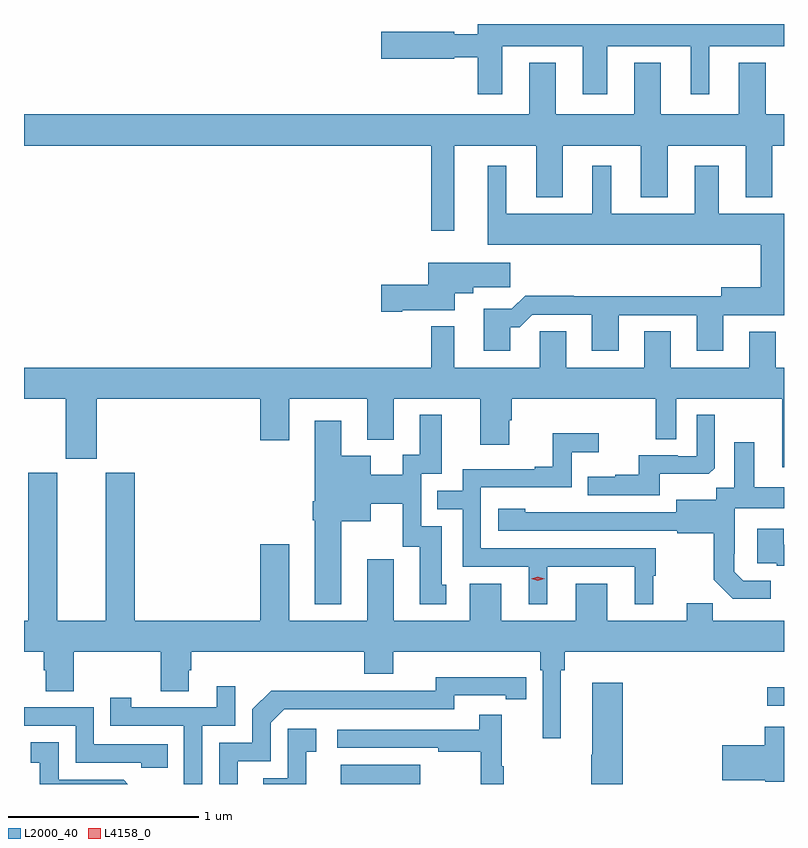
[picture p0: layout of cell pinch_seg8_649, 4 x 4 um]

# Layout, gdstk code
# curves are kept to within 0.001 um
import gdstk
lib = gdstk.Library(unit=1e-6, precision=1e-09)
def R(c, l, rs):  # rectangles x0, y0, x1, y1
    for r in rs: c.add(gdstk.rectangle(r[:2], r[2:], *l))
def P(c, l, *ps):  # polygons
    for p in ps: c.add(gdstk.Polygon(p, *l))
L2000_40 = (2000, 40)
L4158_0 = (4158, 0)

pinch_seg8_649 = lib.new_cell('pinch_seg8_649')
R(pinch_seg8_649, L2000_40, [(311.198,1107.812,311.617,1107.913), (313.443,1108.224,313.532,1108.322)])
P(pinch_seg8_649, L2000_40, [(312.049,1111.694),(312.473,1111.694),(312.473,1111.443),(312.601,1111.443),(312.601,1111.694),(313.04,1111.694),(313.04,1111.443),(313.138,1111.443),(313.138,1111.694),(313.532,1111.694),(313.532,1111.812),(311.921,1111.812),(311.921,1111.759),(311.796,1111.759),(311.796,1111.772),(311.412,1111.772),(311.412,1111.63),(311.796,1111.63),(311.796,1111.638),(311.921,1111.638),(311.921,1111.443),(312.049,1111.443)],
  [(311.797,1111.172),(312.227,1111.172),(312.227,1110.899),(312.367,1110.899),(312.367,1111.172),(312.779,1111.172),(312.779,1110.899),(312.919,1110.899),(312.919,1111.172),(313.331,1111.172),(313.331,1110.899),(313.471,1110.899),(313.471,1111.172),(313.532,1111.172),(313.532,1111.336),(313.435,1111.336),(313.435,1111.609),(313.295,1111.609),(313.295,1111.336),(312.883,1111.336),(312.883,1111.609),(312.743,1111.609),(312.743,1111.336),(312.331,1111.336),(312.331,1111.609),(312.191,1111.609),(312.191,1111.336),(309.532,1111.336),(309.532,1111.172),(311.676,1111.172),(311.676,1110.723),(311.797,1110.723)],
  [(312.091,1110.215),(312.14,1110.215),(312.207,1110.282),(312.521,1110.282),(312.521,1110.093),(312.661,1110.093),(312.661,1110.279),(313.073,1110.279),(313.073,1110.093),(313.213,1110.093),(313.213,1110.278),(313.532,1110.278),(313.532,1110.814),(313.189,1110.814),(313.189,1111.066),(313.061,1111.066),(313.061,1110.814),(312.622,1110.814),(312.622,1111.066),(312.524,1111.066),(312.524,1110.814),(312.07,1110.814),(312.07,1111.066),(311.972,1111.066),(311.972,1110.65),(313.409,1110.65),(313.409,1110.427),(313.202,1110.427),(313.202,1110.38),(312.425,1110.38),(312.425,1110.383),(312.17,1110.383),(312.1,1110.313),(311.951,1110.313),(311.951,1110.093),(312.091,1110.093)],
  [(311.524,1110.305),(311.8,1110.305),(311.8,1110.395),(311.896,1110.395),(311.896,1110.427),(312.091,1110.427),(312.091,1110.556),(311.66,1110.556),(311.66,1110.44),(311.412,1110.44),(311.412,1110.298),(311.524,1110.298)],
  [(313.532,1110.004),(313.489,1110.004),(313.489,1110.193),(313.349,1110.193),(313.349,1110.004),(312.937,1110.004),(312.937,1110.194),(312.797,1110.194),(312.797,1110.004),(312.385,1110.004),(312.385,1110.194),(312.246,1110.194),(312.246,1110.004),(311.797,1110.004),(311.797,1110.22),(311.676,1110.22),(311.676,1110.004),(309.532,1110.004),(309.532,1109.84),(309.752,1109.84),(309.752,1109.523),(309.916,1109.523),(309.916,1109.84),(310.775,1109.84),(310.775,1109.622),(310.927,1109.622),(310.927,1109.84),(311.339,1109.84),(311.339,1109.624),(311.479,1109.624),(311.479,1109.84),(311.933,1109.84),(311.933,1109.598),(312.085,1109.598),(312.085,1109.727),(312.098,1109.727),(312.098,1109.84),(312.858,1109.84),(312.858,1109.626),(312.966,1109.626),(312.966,1109.84),(313.523,1109.84),(313.523,1109.478),(313.532,1109.478)],
  [(311.203,1109.195),(311.356,1109.195),(311.356,1109.288),(311.526,1109.288),(311.526,1109.061),(311.615,1109.061),(311.615,1108.758),(311.755,1108.758),(311.755,1108.86),(311.731,1108.86),(311.731,1109.169),(311.622,1109.169),(311.622,1109.445),(311.731,1109.445),(311.731,1109.755),(311.615,1109.755),(311.615,1109.546),(311.525,1109.546),(311.525,1109.44),(311.356,1109.44),(311.356,1109.539),(311.203,1109.539),(311.203,1109.725),(311.063,1109.725),(311.063,1109.299),(311.051,1109.299),(311.051,1109.199),(311.063,1109.199),(311.063,1108.757),(311.203,1108.757)],
  [(312.877,1109.444),(313.135,1109.444),(313.167,1109.475),(313.167,1109.755),(313.074,1109.755),(313.074,1109.538),(312.974,1109.538),(312.974,1109.541),(312.767,1109.541),(312.767,1109.44),(312.643,1109.44),(312.643,1109.428),(312.499,1109.428),(312.499,1109.331),(312.877,1109.331)],
  [(312.286,1108.956),(312.746,1108.956),(312.746,1108.757),(312.844,1108.757),(312.844,1108.908),(312.856,1108.908),(312.856,1109.052),(311.937,1109.052),(311.937,1109.373),(312.414,1109.373),(312.414,1109.558),(312.556,1109.558),(312.556,1109.657),(312.316,1109.657),(312.316,1109.482),(312.221,1109.482),(312.221,1109.469),(311.841,1109.469),(311.841,1109.355),(311.707,1109.355),(311.707,1109.259),(311.841,1109.259),(311.841,1108.956),(312.188,1108.956),(312.188,1108.757),(312.286,1108.757)],
  [(313.462,1108.881),(313.317,1108.881),(313.27,1108.928),(313.27,1109.023),(313.272,1109.023),(313.272,1109.264),(313.532,1109.264),(313.532,1109.374),(313.375,1109.374),(313.375,1109.611),(313.271,1109.611),(313.271,1109.372),(313.176,1109.372),(313.176,1109.308),(312.965,1109.308),(312.965,1109.241),(312.171,1109.242),(312.171,1109.26),(312.027,1109.26),(312.027,1109.145),(312.969,1109.145),(312.969,1109.133),(313.161,1109.133),(313.161,1108.887),(313.261,1108.787),(313.462,1108.787)],
  [(312.358,1108.412),(312.377,1108.412),(312.377,1108.508),(313.532,1108.508),(313.532,1108.672),(313.157,1108.672),(313.157,1108.763),(313.019,1108.763),(313.019,1108.672),(312.601,1108.672),(312.601,1108.867),(312.437,1108.867),(312.437,1108.672),(312.043,1108.672),(312.043,1108.867),(311.879,1108.867),(311.879,1108.672),(311.479,1108.672),(311.479,1108.996),(311.339,1108.996),(311.339,1108.672),(310.927,1108.672),(310.927,1109.074),(310.775,1109.074),(310.775,1108.672),(310.115,1108.672),(310.115,1109.451),(309.962,1109.451),(309.962,1108.672),(309.706,1108.672),(309.706,1109.451),(309.554,1109.451),(309.554,1108.672),(309.532,1108.672),(309.532,1108.508),(309.635,1108.508),(309.635,1108.41),(309.647,1108.41),(309.647,1108.3),(309.795,1108.3),(309.795,1108.508),(310.252,1108.508),(310.252,1108.3),(310.399,1108.3),(310.399,1108.41),(310.412,1108.41),(310.412,1108.508),(311.324,1108.508),(311.324,1108.391),(311.476,1108.391),(311.476,1108.508),(312.248,1108.508),(312.248,1108.412),(312.261,1108.412),(312.261,1108.053),(312.358,1108.053)],
  [(313.532,1109.07),(313.531,1109.07),(313.531,1109.155),(313.391,1109.155),(313.391,1108.974),(313.495,1108.974),(313.495,1108.962),(313.532,1108.962)],
  [(310.657,1107.933),(310.83,1107.933),(310.83,1108.134),(310.902,1108.206),(311.796,1108.206),(311.796,1108.278),(312.068,1108.278),(312.068,1108.258),(312.176,1108.258),(312.176,1108.374),(311.7,1108.375),(311.7,1108.302),(311.24,1108.302),(311.24,1108.304),(310.832,1108.304),(310.734,1108.206),(310.734,1108.029),(310.56,1108.029),(310.56,1107.812),(310.657,1107.812)],
  [(312.683,1108.345),(312.524,1108.345),(312.524,1107.965),(312.517,1107.965),(312.517,1107.812),(312.683,1107.812)],
  [(310.47,1108.119),(310.644,1108.119),(310.644,1108.327),(310.547,1108.327),(310.547,1108.215),(310.096,1108.215),(310.096,1108.267),(309.985,1108.267),(309.985,1108.119),(310.374,1108.119),(310.374,1107.812),(310.47,1107.812)],
  [(310.289,1108.02),(309.9,1108.02),(309.9,1108.215),(309.532,1108.215),(309.532,1108.119),(309.804,1108.119),(309.804,1107.924),(310.149,1107.924),(310.149,1107.897),(310.289,1107.897)],
  [(312.058,1107.905),(312.047,1107.905),(312.047,1108.177),(311.929,1108.177),(311.929,1108.098),(311.181,1108.098),(311.181,1108.002),(311.713,1108.002),(311.713,1107.982),(311.937,1107.982),(311.937,1107.812),(312.058,1107.812)],
  [(313.532,1108.114),(313.43,1108.114),(313.43,1108.016),(313.206,1108.016),(313.206,1107.833),(313.434,1107.833),(313.434,1107.824),(313.532,1107.824)],
  [(311.018,1107.981),(311.071,1107.981),(311.071,1108.102),(310.92,1108.102),(310.92,1107.843),(310.791,1107.843),(310.791,1107.812),(311.018,1107.812)],
  [(310.056,1107.834),(309.714,1107.834),(309.714,1108.033),(309.567,1108.033),(309.567,1107.923),(309.616,1107.923),(309.616,1107.812),(310.078,1107.812)])
P(pinch_seg8_649, L4158_0, [(312.237,1108.883),(312.201,1108.893),(312.201,1108.893),(312.201,1108.893),(312.237,1108.903),(312.273,1108.893),(312.273,1108.893),(312.273,1108.893)])

lib.write_gds('pinch_seg8_649.gds')
